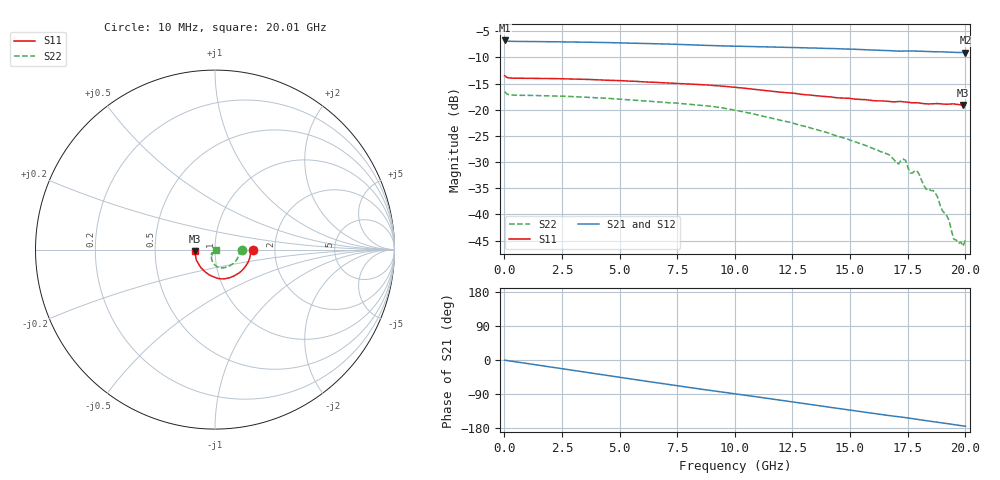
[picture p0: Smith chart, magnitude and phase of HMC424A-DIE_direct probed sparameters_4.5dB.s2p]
!s2p File: Measurements: S11, S21, S12, S22
# GHz S dB R 50.0
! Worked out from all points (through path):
!   201 points, 10 MHz to 20.01 GHz, reference 50 ohm
!   highest |S21| = -6.76 dB at 10 MHz (marker M1); lowest = -9.1 dB at 20.01 GHz (marker M2)
!   group delay of S21, straight-line fit = 24.1 ps
!   lowest |S11| = -19.1 dB at 19.91 GHz (marker M3), VSWR 1.25, Z = 40 - j0.6 ohm
!   |S11| at or under -10 dB: start of sweep to end of sweep
!   |S22| runs from -46.1 to -16.5 dB; largest |S21 - S12| = 0.0028
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0.01  -13.50 -1.0  -6.76 -0.4  -6.76 -0.4  -16.51 -1.3
0.31  -13.95 -3.1  -6.93 -3.2  -6.93 -3.2  -17.18 -3.6
3.41  -14.19 -26.3  -7.09 -31.3  -7.09 -31.3  -17.57 -27.7
6.71  -14.81 -52.2  -7.40 -61.0  -7.40 -60.9  -18.51 -53.0
10.01  -15.70 -81.3  -7.85 -89.2  -7.86 -89.2  -20.07 -80.4
13.41  -17.25 -111.7  -8.20 -118.4  -8.21 -118.4  -23.64 -103.3
16.71  -18.42 -143.9  -8.71 -146.6  -8.69 -146.6  -28.64 -122.3
17.11  -18.43 -147.2  -8.80 -149.8  -8.74 -149.8  -30.37 -119.2
17.21  -18.42 -148.6  -8.80 -150.5  -8.76 -150.6  -29.68 -116.9
17.41  -18.52 -151.2  -8.78 -152.0  -8.79 -152.3  -29.66 -128.4
17.61  -18.65 -152.9  -8.77 -153.7  -8.80 -154.0  -32.07 -128.2
17.91  -18.68 -155.4  -8.80 -156.6  -8.84 -156.5  -31.67 -126.3
18.31  -18.87 -160.1  -8.84 -160.1  -8.88 -159.9  -35.22 -125.9
18.41  -18.90 -161.0  -8.87 -160.9  -8.89 -160.8  -35.05 -122.0
18.71  -18.82 -163.8  -8.92 -163.5  -8.92 -163.2  -35.95 -125.6
19.01  -18.91 -167.6  -8.94 -166.2  -8.97 -166.0  -39.26 -123.6
19.31  -18.92 -170.3  -9.00 -168.6  -8.99 -168.5  -41.24 -118.8
19.51  -18.89 -172.5  -9.04 -170.5  -9.03 -170.2  -44.76 -105.4
19.71  -19.00 -174.7  -9.05 -172.2  -9.06 -172.0  -45.59 -89.2
19.81  -19.07 -175.7  -9.07 -173.0  -9.07 -172.9  -45.28 -75.5
19.91  -19.09 -176.2  -9.06 -173.9  -9.08 -173.7  -46.08 -65.8
20.01  -19.09 -177.0  -9.10 -174.7  -9.08 -174.6  -44.91 -48.8
